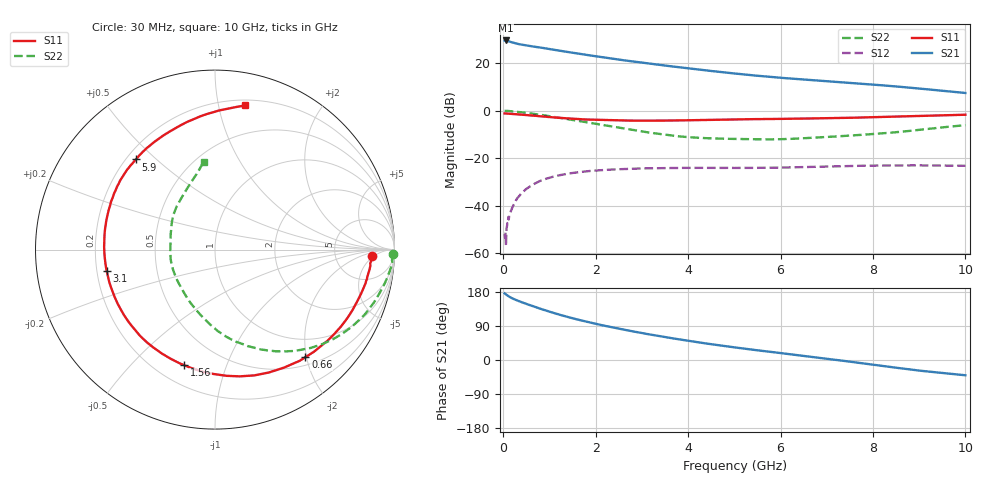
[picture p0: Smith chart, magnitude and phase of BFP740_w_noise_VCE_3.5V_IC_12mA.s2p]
! Infineon Technologies  Discrete & RF Semiconductors
! BFP740
! VCE =  3.5 V,  IC =  12 mA
! Common Emitter S-Parameters:  Jan 2016
# GHz  S  MA  R  50
!  f  S11  S21  S12  S22
! GHz  MAG  ANG  MAG  ANG  MAG  ANG  MAG  ANG
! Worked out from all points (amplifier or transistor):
!   229 points, 30 MHz to 10 GHz, reference 50 ohm
!   highest |S21| = 29.6 dB at 50 MHz (marker M1)
!   |S21| within 3 dB of that: start of sweep to 810 MHz
!   unconditionally stable (mu >= 1): 6.965 GHz to end of sweep
!   at 280 MHz: K = 0.18, MSG = 33.0 dB, |S12| = -37.7 dB
!   at 1.78 GHz: K = 0.35, MSG = 24.6 dB, |S12| = -25.6 dB
!   at 10 GHz: K = 1.05, MAG = 13.9 dB, |S12| = -23.2 dB
!   lowest NFmin = 0.54 dB at 450 MHz
!   S11 on the Smith chart (normalised r, x): 30 MHz: 14, -4; 660 MHz: 0.64, -1.98; 1.56 GHz: 0.31, -0.72; 3.1 GHz: 0.24, -0.09; 5.9 GHz: 0.24, +0.43; 10 GHz: 0.24, +1.20
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0.03  0.8741 -2.4  30.04 175.9  0.0025 88.2  0.9903 -1.5
0.05  0.8723 -4.2  30.05 174.1  0.0027 72.2  0.9909 -2.9
0.06  0.8683 -5.0  29.85 172.9  0.0014 81.7  0.9877 -3.4
0.07  0.8702 -6.0  29.59 172.1  0.0033 91.5  0.9902 -4.0
0.12  0.8618 -10.3  28.73 167.8  0.0051 91.0  0.9816 -6.9
0.22  0.8471 -18.1  26.86 161.3  0.0102 79.4  0.9605 -12.1
0.44  0.816 -34.4  24.15 150.7  0.0199 70.7  0.915 -22.3
0.66  0.7829 -50.0  22.29 141.4  0.0282 62.3  0.8592 -31.9
0.88  0.7497 -65.0  20.75 132.2  0.0354 54.9  0.799 -41.0
1.1  0.7197 -78.9  19.14 123.8  0.0412 48.3  0.7373 -49.2
1.56  0.6666 -104.8  16.23 108.3  0.0497 37.1  0.6207 -64.1
1.7  0.6566 -112.0  15.46 104.1  0.0514 34.1  0.5873 -68.3
2.1  0.6368 -130.9  13.52 92.8  0.0556 27.0  0.5066 -80.0
2.32  0.6276 -140.1  12.58 87.1  0.0573 23.6  0.4671 -85.8
3.1  0.6152 -168.9  9.955 68.9  0.061 14.1  0.3525 -107.2
3.4  0.6167 -178.5  9.141 62.7  0.0615 11.0  0.3208 -116.5
4.2  0.6319 159.8  7.38 47.0  0.0623 4.3  0.2691 -142.8
5.1  0.6554 142.3  5.926 31.8  0.0623 -0.4  0.2526 -168.1
5.9  0.6688 131.3  5.016 19.8  0.0629 -2.8  0.2492 173.3
6.8  0.6881 119.8  4.299 6.4  0.0658 -6.4  0.2703 154.4
8.4  0.7466 96.4  3.292 -18.8  0.0701 -15.2  0.3441 122.7
10  0.8203 78.2  2.354 -40.3  0.069 -22.8  0.4942 97.4
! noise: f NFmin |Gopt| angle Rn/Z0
0.45  0.54  0.16  4  0.16
0.9  0.55  0.16  11  0.16
1.5  0.57  0.15  22  0.15
1.9  0.6  0.15  39  0.15
2.4  0.63  0.15  46  0.14
3.5  0.73  0.13  57  0.13
5.5  0.9  0.16  211  0.12
10  1.33  0.5  -72  0.16
